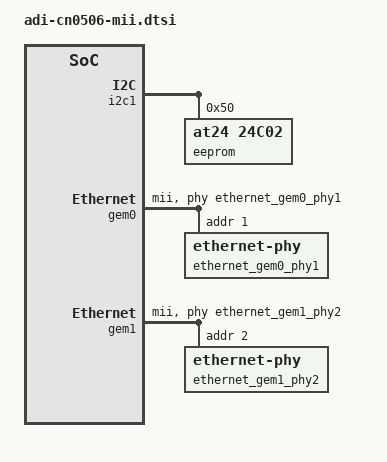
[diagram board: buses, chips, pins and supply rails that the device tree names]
&i2c1 {
	i2c-mux@75 {
		i2c@1 { /* HPC1 */
			#address-cells = <1>;
			#size-cells = <0>;
			reg = <1>;

			eeprom@50 {
				compatible = "at24,24c02";
				reg = <0x50>;
			};
		};
	};
};

&gem0 {
	status = "okay";
	phy-mode = "mii";
	phy-handle = <&ethernet_gem0_phy1>;
	/* Override compatible string to configure a MAC that works
	 * at 100 Mbit. Otherwise gigabit can be advertised by the
	 * PHY after matching MAC link caps with PHY link caps,
	 * even though, the design won't be able to actually support it
	 */
	compatible = "cdns,macb";

	ethernet_gem0_phy1: ethernet-phy@1 {
		reg = <1>;
	};
};

&gem1 {
	status = "okay";
	phy-mode = "mii";
	phy-handle = <&ethernet_gem1_phy2>;
	/* Override compatible string to configure a MAC that works
	 * at 100 Mbit. Otherwise gigabit can be advertised by the
	 * PHY after matching MAC link caps with PHY link caps,
	 * even though, the design won't be able to actually support it
	 */
	compatible = "cdns,macb";

	ethernet_gem1_phy2: ethernet-phy@2 {
		reg = <2>;
	};
};
